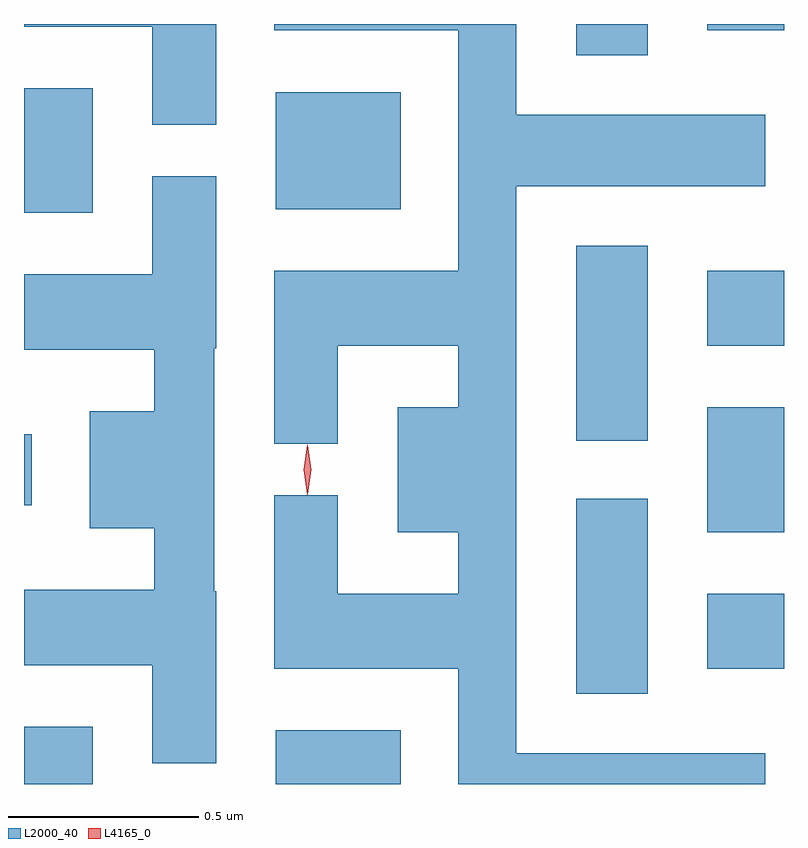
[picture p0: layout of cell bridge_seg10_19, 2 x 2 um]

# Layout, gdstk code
import gdstk
lib = gdstk.Library(unit=1e-6, precision=1e-09)
def R(c, l, rs):  # rectangles x0, y0, x1, y1
    for r in rs: c.add(gdstk.rectangle(r[:2], r[2:], *l))
def P(c, l, *ps):  # polygons
    for p in ps: c.add(gdstk.Polygon(p, *l))
L2000_40 = (2000, 40)
L4165_0 = (4165, 0)

bridge_seg10_19 = lib.new_cell('bridge_seg10_19')
R(bridge_seg10_19, L2000_40, [(1786.923,2156.583,1787.104,2156.734), (1787.586,2156.583,1787.914,2156.724), (1788.376,2156.821,1788.564,2157.334), (1788.721,2156.886,1788.923,2157.084), (1788.721,2157.246,1788.923,2157.574), (1786.923,2157.316,1786.944,2157.504), (1788.376,2157.486,1788.564,2157.999), (1788.721,2157.736,1788.923,2157.934), (1786.923,2158.086,1787.104,2158.414), (1787.586,2158.096,1787.914,2158.404), (1788.376,2158.501,1788.564,2158.583), (1788.721,2158.566,1788.923,2158.583)])
P(bridge_seg10_19, L2000_40, [(1788.874,2156.664),(1788.219,2156.664),(1788.219,2158.156),(1788.874,2158.156),(1788.874,2158.344),(1788.219,2158.344),(1788.219,2158.583),(1787.581,2158.583),(1787.581,2158.566),(1788.066,2158.566),(1788.066,2157.934),(1787.581,2157.934),(1787.581,2157.478),(1787.749,2157.478),(1787.749,2157.736),(1788.066,2157.736),(1788.066,2157.574),(1787.906,2157.574),(1787.906,2157.246),(1788.066,2157.246),(1788.066,2157.084),(1787.749,2157.084),(1787.749,2157.343),(1787.581,2157.343),(1787.581,2156.886),(1788.066,2156.886),(1788.066,2156.583),(1788.874,2156.583)],
  [(1787.429,2158.583),(1786.923,2158.583),(1786.923,2158.576),(1787.261,2158.576),(1787.261,2158.318),(1787.429,2158.318)],
  [(1787.429,2157.09),(1787.424,2157.09),(1787.424,2157.73),(1787.429,2157.73),(1787.429,2158.183),(1787.261,2158.183),(1787.261,2157.924),(1786.923,2157.924),(1786.923,2157.726),(1787.266,2157.726),(1787.266,2157.564),(1787.096,2157.564),(1787.096,2157.256),(1787.266,2157.256),(1787.266,2157.094),(1786.923,2157.094),(1786.923,2156.896),(1787.261,2156.896),(1787.261,2156.638),(1787.429,2156.638)])
P(bridge_seg10_19, L4165_0, [(1787.669,2157.344),(1787.669,2157.345),(1787.659,2157.41),(1787.669,2157.475),(1787.669,2157.476),(1787.67,2157.475),(1787.679,2157.41),(1787.67,2157.345)])

lib.write_gds('bridge_seg10_19.gds')
